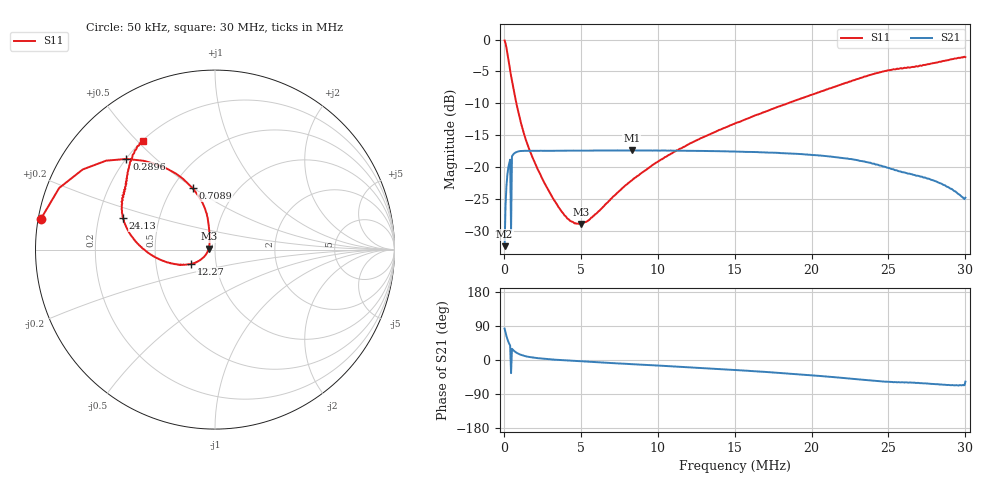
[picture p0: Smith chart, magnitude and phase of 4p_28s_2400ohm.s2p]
# HZ S RI R 50
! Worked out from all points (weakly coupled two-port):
!   501 points, 50 kHz to 30 MHz, reference 50 ohm
!   highest |S21| = -17.40 dB at 8.316 MHz (marker M1); lowest = -32.4 dB at 50 kHz (marker M2)
!   lowest |S11| = -28.9 dB at 5.022 MHz (marker M3), VSWR 1.07, Z = 46.6 + j0.469 ohm
!   |S11| at or under -10 dB: 814 kHz to 18.47 MHz (17.66 MHz wide, 183 % of centre)
!   S12 and S22 are empty: the file has one direction only
!   S11 on the Smith chart (normalised r, x): 50 kHz: 0.01, +0.09; 289.6 kHz: 0.20, +0.41; 708.9 kHz: 0.63, +0.50; 12.27 MHz: 0.75, -0.12; 24.13 MHz: 0.30, +0.15; 30 MHz: 0.20, +0.52
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50000  -0.9688 0.1731  0.00299 0.0237  0 0  0 0
229700  -0.6069 0.4954  0.0494 0.0714  0 0  0 0
289600  -0.4931 0.5052  0.0654 0.0739  0 0  0 0
349500  -0.3992 0.495  0.0785 0.0728  0 0  0 0
589100  -0.1788 0.3948  0.111 0.0562  0 0  0 0
649000  -0.1498 0.367  0.1157 0.0526  0 0  0 0
708900  -0.1252 0.3425  0.1189 0.0492  0 0  0 0
1008400  -0.0613 0.2419  0.1282 0.0351  0 0  0 0
1487600  -0.0369 0.1516  0.132 0.0217  0 0  0 0
2625700  -0.0299 0.0687  0.1338 0.00717  0 0  0 0
4003400  -0.0317 0.0264  0.1341 -0.00228  0 0  0 0
5021700  -0.0354 0.00503  0.1341 -0.00824  0 0  0 0
5081600  -0.0358 0.0039  0.1341 -0.00857  0 0  0 0
8316200  -0.0647 -0.0443  0.1324 -0.0258  0 0  0 0
1.00533e7  -0.091 -0.0632  0.13 -0.0341  0 0  0 0
1.22696e7  -0.1343 -0.0802  0.126 -0.0451  0 0  0 0
1.5025e7  -0.2028 -0.084  0.1184 -0.0586  0 0  0 0
2.00566e7  -0.3696 -0.0193  0.0945 -0.0805  0 0  0 0
2.41298e7  -0.5125 0.1775  0.06 -0.0862  0 0  0 0
2.50283e7  -0.5189 0.2452  0.0528 -0.0826  0 0  0 0
2.80233e7  -0.4839 0.4442  0.0345 -0.0694  0 0  0 0
3e7  -0.4025 0.6058  0.0311 -0.0482  0 0  0 0
